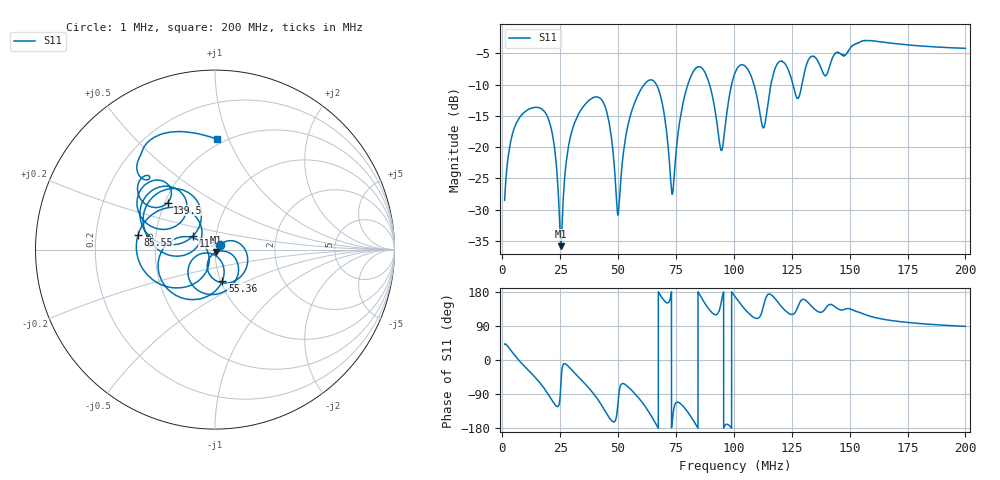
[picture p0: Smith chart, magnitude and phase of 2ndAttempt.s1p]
# Hz S RI R 50
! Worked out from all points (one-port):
!   10100 points, 1 MHz to 200 MHz, reference 50 ohm
!   lowest |S11| = -35.9 dB at 25.26 MHz (marker M1), VSWR 1.03, Z = 50.5 - j1.53 ohm
!   |S11| at or under -10 dB: start of sweep to 61.3 MHz; 66.56 MHz to 80.14 MHz (13.59 MHz wide, 18.5 % of centre); 89.5 MHz to 99.03 MHz (9.528 MHz wide, 10.1 % of centre)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
!   S11 on the Smith chart (normalised r, x): 1 MHz: 1.06, +0.05; 55.36 MHz: 1.02, -0.37; 85.55 MHz: 0.40, +0.08; 113 MHz: 0.78, +0.12; 139.5 MHz: 0.52, +0.31; 200 MHz: 0.46, +0.91
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1000000  0.028 0.0249
5945704  0.1523 0.0211
1.67829e7  0.0882 -0.1827
2.182713e7  -0.0405 -0.1145
2.525562e7  0.00547 -0.0152
2.588615e7  0.0245 -0.00929
2.986636e7  0.1176 -0.0555
3.938339e7  0.00545 -0.2487
4.503844e7  -0.1505 -0.1213
4.957036e7  -0.0238 -0.022
5.07526e7  0.012 -0.0402
5.536334e7  0.0408 -0.1751
6.633846e7  -0.315 -0.0629
7.33925e7  -0.04 -0.0135
7.563875e7  -0.0421 -0.1088
8.076179e7  -0.2733 -0.2051
8.554986e7  -0.4288 0.0825
9.4594e7  -0.0839 0.0419
1.005052e8  -0.3825 0.0858
1.062982e8  -0.2282 0.3404
1.130172e8  -0.1213 0.0775
1.188693e8  -0.4177 0.2062
1.253716e8  -0.1637 0.2797
1.32268e8  -0.4337 0.2469
1.394797e8  -0.2633 0.2621
1.502578e8  -0.4337 0.4407
1.751242e8  -0.1028 0.6474
1.999907e8  0.0136 0.6155
